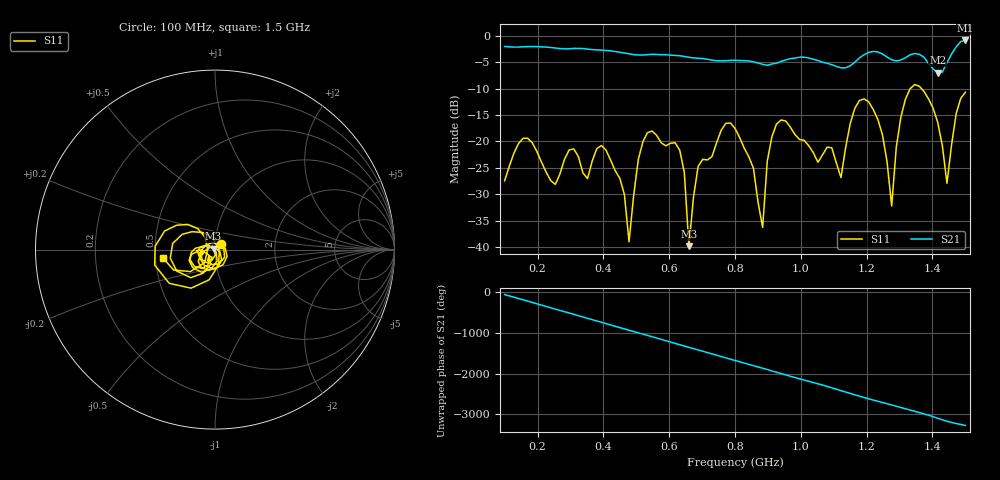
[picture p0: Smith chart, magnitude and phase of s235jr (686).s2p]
! NanoVNA-App
! Date: 2025-09-25 15:09:30
! Start: 100MHz Stop: 1,5GHz Points: 101
! S-Parameter data: F S11 S21 S12 S22
# Hz S RI R 50
!  Frequency  S11_Real  S11_Imag  S21_Real  S21_Imag  S12_Real  S12_Imag  S22_Real  S22_Imag
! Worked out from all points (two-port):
!   101 points, 100 MHz to 1.5 GHz, reference 50 ohm
!   highest |S21| = -0.83 dB at 1.5 GHz (marker M1); lowest = -6.9 dB at 1.416 GHz (marker M2)
!   |S21| within 3 dB of the highest: start of sweep to 642.2 MHz; 1.185 GHz to 1.259 GHz (73.32 MHz wide, 6 % of centre) (the widest 2 of 4)
!   lowest |S11| = -39.9 dB at 660 MHz (marker M3), VSWR 1.02, Z = 49.2 + j0.599 ohm
!   |S11| at or under -10 dB: start of sweep to 1.332 GHz; 1.367 GHz to end of sweep
!   S12 and S22 are empty: the file has one direction only
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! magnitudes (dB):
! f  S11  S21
! 100 MHz  -27.5  -2.0
! 156 MHz  -19.4  -2.0
! 338 MHz  -26.0  -2.3
! 408 MHz  -21.6  -2.7
! 478 MHz  -39.0  -3.4
! 520 MHz  -20.1  -3.6
! 576 MHz  -20.3  -3.5
! 632 MHz  -21.6  -3.7
! 660 MHz  -39.9  -4.0
! 688 MHz  -24.7  -4.2
! 800 MHz  -17.5  -4.6
! 884 MHz  -36.3  -5.4
! 898 MHz  -23.7  -5.5
! 926 MHz  -16.7  -5.1
! 1.038 GHz  -22.1  -4.4
! 1.122 GHz  -26.9  -6.0
! 1.206 GHz  -12.5  -3.1
! 1.276 GHz  -32.2  -4.5
! 1.332 GHz  -10.0  -3.5
! 1.416 GHz  -16.4  -6.9
! 1.444 GHz  -27.9  -5.1
! 1.5 GHz  -10.6  -0.8
